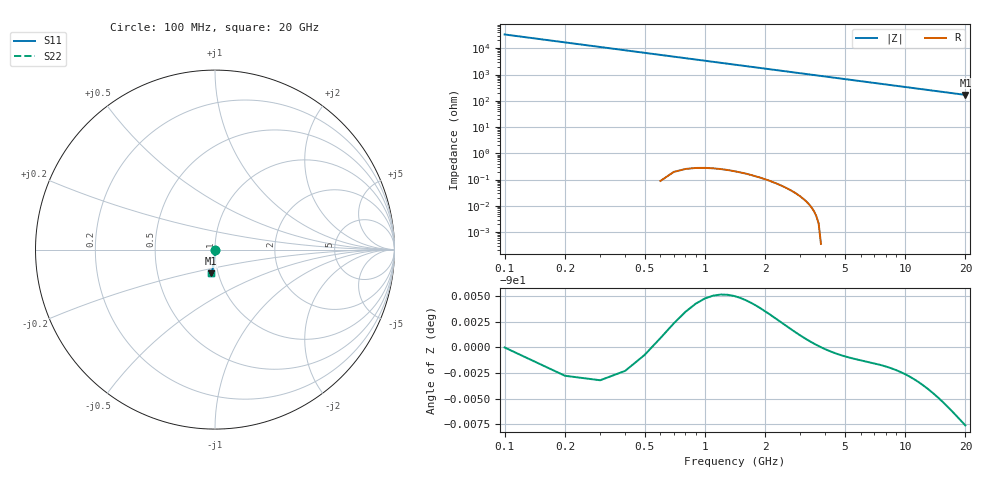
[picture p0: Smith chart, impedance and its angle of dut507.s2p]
! Touchstone file exported from HFSS 2026.1.0
!  File:  C:/ffzhzh/LocalFiles/Ansys_Project_Files/temp_train_TSV_507_1783023202_51716.aedt
!  Generated:  04:14:48 AM Jul  3, 2026
!  Design:  TSV
!  Project:  temp_train_TSV_507_1783023202_51716
! Variables:
!  h_bsmrdl = 2um
!  h_ox = 20um
!  h_rdl = 5um
!  h_sub = 54.73um
!  h_tmrdl = 5um
!  h_tsv = 54.73um
!  h_via = 3um
!  l_bsmrdl = 300um
!  l_sub = 428.06um
!  l_tmrdl = 200um
!  m_sub = 200um
!  pitch = 30.12um
!  r_tsv = 14.03um
!  s_tmrdl = 10um
!  w_bsmrdl = 18um
!  w_sub = 500um
!  w_tmrdl = 12um
!  x_tsv_center1 = 206um
!  x_tsv_center2 = 524um
!  x_tsv_center3 = 736um
!  x_tsv_center4 = 1054um
!  x_tsv_center5 = 1266um
!  x_tsv_center6 = 1584um
# GHz S MA R 50.000000
! Terminal data exported
! Port[1] = TSV1_1_T1
! Port[2] = TSV1_1_T2
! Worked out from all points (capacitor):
!   200 points, 100 MHz to 20 GHz, reference 50 ohm
!   read as one part in shunt: C = 47.5 fF near 200 MHz
!   lowest |Z| = 168 ohm at 20 GHz (marker M1)
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0.1  0.0006303 -83.1  0.9999 -0.0  0.9999 -0.0  0.0006303 -83.1
! Gamma 0 0 0 0
! Port Impedance 50 0 50 0
0.2  0.00126 -85.8  0.9999 -0.1  0.9999 -0.1  0.00126 -85.8
0.3  0.0019 -86.5  0.9999 -0.1  0.9999 -0.1  0.0019 -86.5
0.4  0.00255 -86.9  0.9998 -0.2  0.9998 -0.2  0.00255 -86.9
0.5  0.003207 -87.1  0.9998 -0.2  0.9998 -0.2  0.003207 -87.1
0.7  0.004538 -87.5  0.9998 -0.3  0.9998 -0.3  0.004538 -87.5
0.8  0.005208 -87.7  0.9997 -0.4  0.9997 -0.4  0.005208 -87.7
1  0.006552 -88.0  0.9997 -0.5  0.9997 -0.5  0.006552 -88.0
1.2  0.007898 -88.4  0.9997 -0.6  0.9997 -0.6  0.007898 -88.4
1.4  0.009244 -88.6  0.9996 -0.7  0.9996 -0.7  0.009244 -88.6
1.7  0.01126 -89.0  0.9996 -0.8  0.9996 -0.8  0.01126 -89.0
2  0.01328 -89.3  0.9995 -0.9  0.9995 -0.9  0.01328 -89.3
2.7  0.01799 -89.9  0.9994 -1.3  0.9994 -1.3  0.01799 -89.9
3.5  0.02337 -90.4  0.9992 -1.7  0.9992 -1.7  0.02337 -90.4
4.2  0.02808 -90.9  0.9991 -2.0  0.9991 -2.0  0.02808 -90.9
5  0.03348 -91.3  0.9988 -2.4  0.9988 -2.4  0.03348 -91.3
6.8  0.04562 -92.3  0.9982 -3.2  0.9982 -3.2  0.04562 -92.3
8.3  0.05574 -93.1  0.9976 -3.9  0.9976 -3.9  0.05574 -93.1
10.1  0.06786 -94.0  0.9968 -4.7  0.9968 -4.7  0.06786 -94.0
13.4  0.09 -95.6  0.9949 -6.3  0.9949 -6.3  0.09 -95.6
16.7  0.112 -97.2  0.9925 -7.8  0.9925 -7.8  0.112 -97.2
20  0.1338 -98.7  0.9897 -9.3  0.9897 -9.3  0.1338 -98.7
